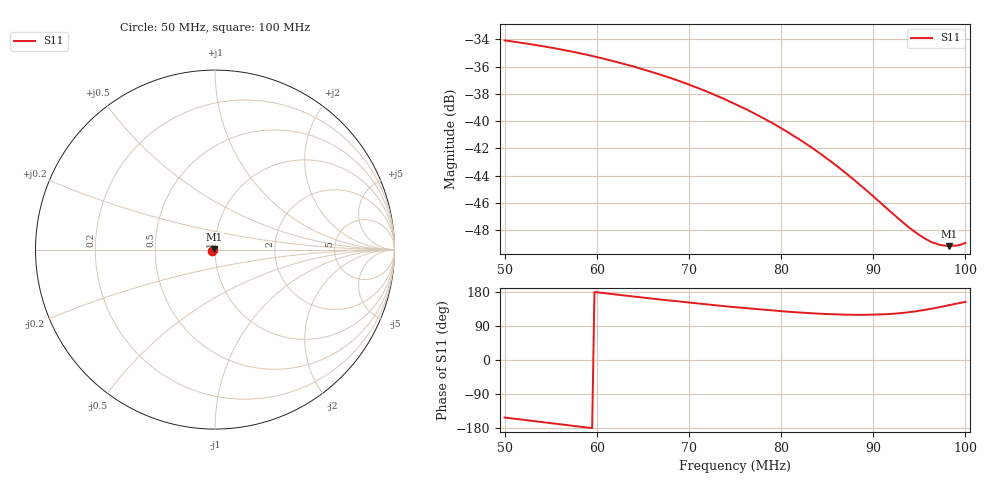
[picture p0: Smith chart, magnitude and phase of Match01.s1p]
!Agilent Technologies,E5072A,MY51200456,A.01.06
!Date: Tue Sep 01 19:47:54 2015
!Data & Calibration Information:
!Freq	S11:SOLT1(ON)
!PortZ  Port1:50+j0
!Above PortZ is port z conversion or system Z0 setting when saving the data.
!When reading, reference impedance value at option line is always used.
# Hz S dB R 50
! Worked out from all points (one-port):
!   201 points, 50 MHz to 100 MHz, reference 50 ohm
!   lowest |S11| = -49.2 dB at 98.25 MHz (marker M1), VSWR 1.01, Z = 49.7 + j0.2 ohm
!   |S11| at or under -10 dB: start of sweep to end of sweep
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5e7  -34.08 -151.8
5.4e7  -34.48 -163.8
5.625e7  -34.76 -170.4
6e7  -35.29 178.7
6.25e7  -35.72 171.7
6.55e7  -36.29 163.4
6.875e7  -37.01 154.7
7.2e7  -37.84 146.5
7.35e7  -38.27 142.9
7.5e7  -38.74 139.3
7.725e7  -39.48 134.4
7.9e7  -40.11 130.7
8.125e7  -41.03 126.6
8.325e7  -41.90 123.4
8.45e7  -42.50 121.8
8.625e7  -43.39 120.1
8.75e7  -44.07 119.3
8.925e7  -45.06 119.2
9.25e7  -47.00 122.7
9.275e7  -47.17 123.2
9.375e7  -47.73 125.8
9.5e7  -48.36 129.8
9.625e7  -48.86 135.0
9.725e7  -49.08 139.7
9.825e7  -49.17 144.7
9.9e7  -49.14 148.5
9.95e7  -49.07 151.1
1e8  -48.94 153.3
